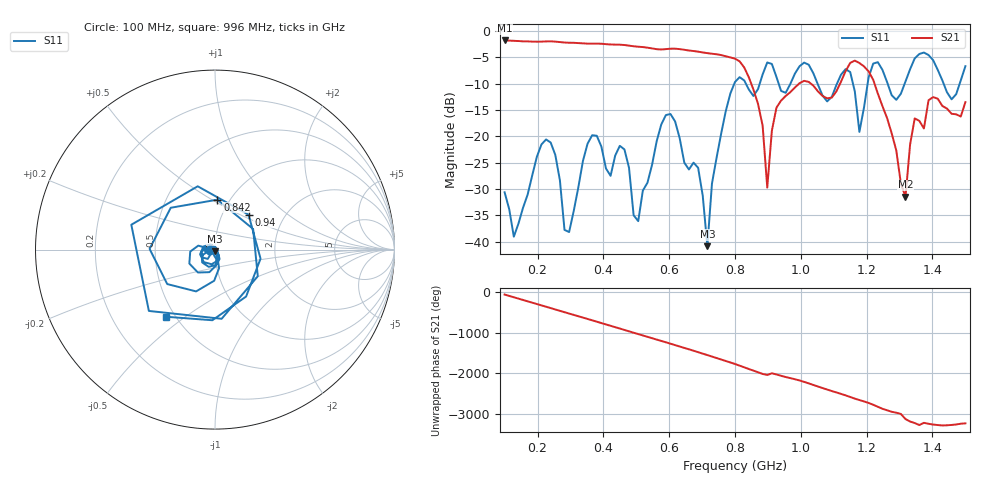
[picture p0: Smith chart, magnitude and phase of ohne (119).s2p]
! NanoVNA-App
! Date: 2025-09-25 14:21:43
! Start: 100MHz Stop: 1,5GHz Points: 101
! S-Parameter data: F S11 S21 S12 S22
# Hz S RI R 50
!  Frequency  S11_Real  S11_Imag  S21_Real  S21_Imag  S12_Real  S12_Imag  S22_Real  S22_Imag
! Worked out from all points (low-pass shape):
!   101 points, 100 MHz to 1.5 GHz, reference 50 ohm
!   highest |S21| = -1.79 dB at 100 MHz (marker M1); lowest = -31.5 dB at 1.318 GHz (marker M2)
!   |S21| within 3 dB of the highest: start of sweep to 771.8 MHz
!   lowest |S11| = -40.9 dB at 716 MHz (marker M3), VSWR 1.02, Z = 49.7 - j0.862 ohm
!   |S11| at or under -10 dB: start of sweep to 797.9 MHz; 833 MHz to 875.2 MHz (42.19 MHz wide, 4.94 % of centre); 1.051 GHz to 1.11 GHz (59.09 MHz wide, 5.47 % of centre) (the widest 3 of 7)
!   S12 and S22 are empty: the file has one direction only
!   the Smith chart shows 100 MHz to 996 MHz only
!   S11 on the Smith chart (normalised r, x): 100 MHz: 0.94, -0.01; 842 MHz: 0.88, +0.53; 940 MHz: 1.33, +0.56; 996 MHz: 0.45, -0.43
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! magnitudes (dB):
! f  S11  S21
! 100 MHz  -30.6  -1.8
! 128 MHz  -39.1  -1.9
! 226 MHz  -20.6  -2.0
! 296 MHz  -38.2  -2.2
! 338 MHz  -24.7  -2.3
! 464 MHz  -22.5  -2.7
! 506 MHz  -36.1  -3.0
! 576 MHz  -17.8  -3.5
! 688 MHz  -26.0  -3.9
! 716 MHz  -40.9  -4.2
! 800 MHz  -9.7  -5.2
! 842 MHz  -11.1  -8.8
! 898 MHz  -6.0  -29.8
! 940 MHz  -11.4  -13.2
! 996 MHz  -6.7  -9.9
! 1.038 GHz  -8.0  -10.4
! 1.178 GHz  -19.2  -6.1
! 1.22 GHz  -6.2  -9.3
! 1.276 GHz  -12.2  -19.4
! 1.318 GHz  -9.6  -31.5
! 1.346 GHz  -5.2  -16.6
! 1.5 GHz  -6.7  -13.5
